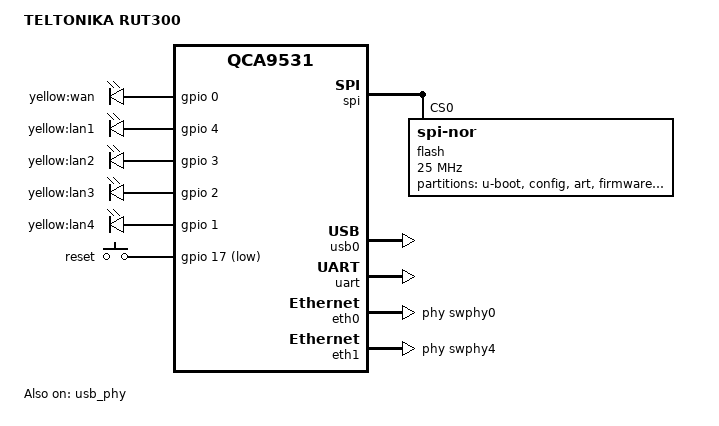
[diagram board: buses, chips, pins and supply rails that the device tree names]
// SPDX-License-Identifier: GPL-2.0-or-later OR MIT
/dts-v1/;

#include <dt-bindings/gpio/gpio.h>
#include <dt-bindings/input/input.h>
#include "qca953x.dtsi"

/ {
	compatible = "teltonika,rut300", "teltonika,rut30x", "qca,qca9531";
	model = "TELTONIKA RUT300";

	aliases {
		label-mac-device = &eth1;
		led-boot = &led_wan;
		led-failsafe = &led_wan;
		led-running = &led_wan;
		led-upgrade = &led_wan;
		serial0 = &uart;
	};

	leds {
		compatible = "gpio-leds";
		pinctrl-names = "default";
		pinctrl-0 = <&pmx_leds_switch>, <&jtag_disable_pins>;

		led_wan: wan {
			label = "yellow:wan";
			gpios = <&gpio 0 GPIO_ACTIVE_HIGH>;
		};

		lan1 {
			label = "yellow:lan1";
			gpios = <&gpio 4 GPIO_ACTIVE_HIGH>;
		};

		lan2 {
			label = "yellow:lan2";
			gpios = <&gpio 3 GPIO_ACTIVE_HIGH>;
		};

		lan3 {
			label = "yellow:lan3";
			gpios = <&gpio 2 GPIO_ACTIVE_HIGH>;
		};

		lan4 {
			label = "yellow:lan4";
			gpios = <&gpio 1 GPIO_ACTIVE_HIGH>;
		};
	};

	keys {
		compatible = "gpio-keys";

		reset {
			label = "reset";
			linux,code = <KEY_RESTART>;
			gpios = <&gpio 17 GPIO_ACTIVE_LOW>;
		};
	};
};

&spi {
	status = "okay";
	num-cs = <1>;

	flash@0 {
		compatible = "jedec,spi-nor";
		reg = <0>;
		spi-max-frequency = <25000000>;

		partitions {
			compatible = "fixed-partitions";
			#address-cells = <1>;
			#size-cells = <1>;

			partition@0 {
				label = "u-boot";
				reg = <0x000000 0x020000>;
				read-only;
			};

			config: partition@20000 {
				label = "config";
				reg = <0x020000 0x010000>;
				read-only;

				nvmem-layout {
					compatible = "fixed-layout";
					#address-cells = <1>;
					#size-cells = <1>;

					macaddr_config_0: macaddr@0 {
						compatible = "mac-base";
						reg = <0x0 0x6>;
						#nvmem-cell-cells = <1>;
					};
				};
			};

			partition@30000 {
				label = "art";
				reg = <0x030000 0x010000>;
				read-only;
			};

			partition@40000 {
				compatible = "denx,uimage";
				label = "firmware";
				reg = <0x040000 0xf30000>;
			};

			partition@f70000 {
				label = "event-log";
				reg = <0xf70000 0x090000>;
			};
		};
	};
};

&usb0 {
	status = "okay";
};

&usb_phy {
	status = "okay";
};

&uart {
	status = "okay";
};

&eth0 {
	status = "okay";
	phy-handle = <&swphy0>;

	nvmem-cells = <&macaddr_config_0 1>;
	nvmem-cell-names = "mac-address";
};

&eth1 {
	phy-handle = <&swphy4>;
	nvmem-cells = <&macaddr_config_0 0>;
	nvmem-cell-names = "mac-address";

	gmac-config {
		device = <&gmac>;
		switch-phy-swap = <1>;
	};
};

&pinmux {
	pmx_leds_switch: leds_switch {
		// switch port LEDs on GPIO 0~4
		pinctrl-single,bits =	<0x0 0x00000000 0xffffffff>,
					<0x4 0x00000000 0x000000ff>;
	};
};
